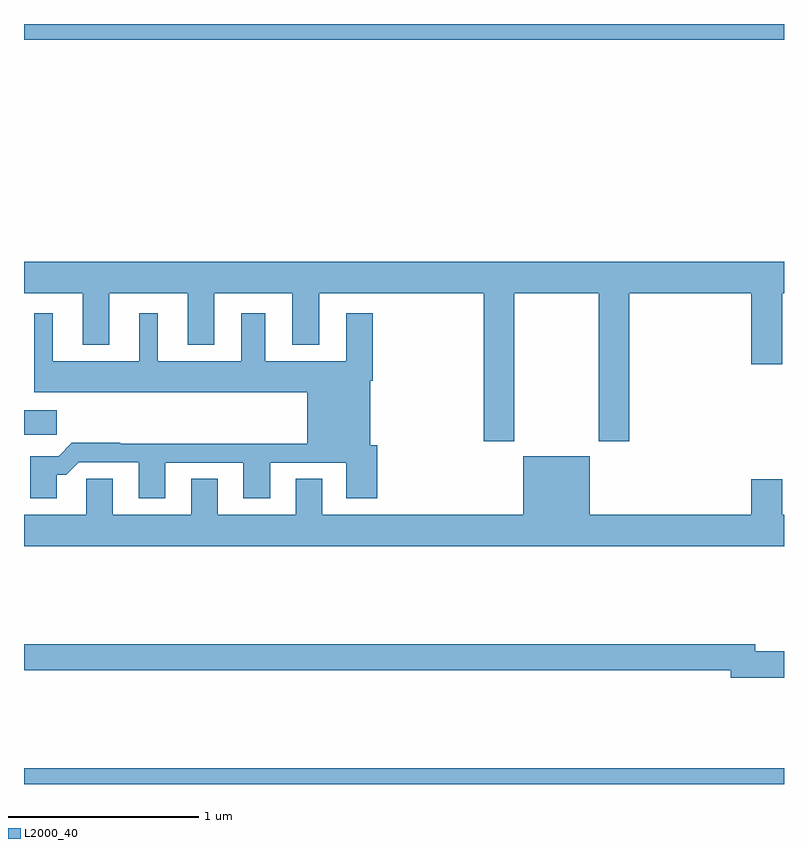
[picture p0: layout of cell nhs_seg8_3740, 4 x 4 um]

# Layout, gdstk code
import gdstk
lib = gdstk.Library(unit=1e-6, precision=1e-09)
def R(c, l, rs):  # rectangles x0, y0, x1, y1
    for r in rs: c.add(gdstk.rectangle(r[:2], r[2:], *l))
def P(c, l, *ps):  # polygons
    for p in ps: c.add(gdstk.Polygon(p, *l))
L2000_40 = (2000, 40)

nhs_seg8_3740 = lib.new_cell('nhs_seg8_3740')
R(nhs_seg8_3740, L2000_40, [(341,1129.9,345,1129.984), (341,1131.739,341.173,1131.868), (341,1133.816,345,1133.9)])
P(nhs_seg8_3740, L2000_40, [(343.581,1132.484),(344.026,1132.484),(344.026,1131.705),(344.186,1131.705),(344.186,1132.484),(344.828,1132.484),(344.828,1132.11),(344.992,1132.11),(344.992,1132.484),(345,1132.484),(345,1132.648),(341,1132.648),(341,1132.484),(341.309,1132.484),(341.309,1132.211),(341.449,1132.211),(341.449,1132.484),(341.861,1132.484),(341.861,1132.211),(342.001,1132.211),(342.001,1132.484),(342.413,1132.484),(342.413,1132.211),(342.553,1132.211),(342.553,1132.484),(343.421,1132.484),(343.421,1131.705),(343.581,1131.705)],
  [(341.173,1131.527),(341.222,1131.527),(341.289,1131.594),(341.603,1131.594),(341.603,1131.405),(341.743,1131.405),(341.743,1131.591),(342.155,1131.591),(342.155,1131.405),(342.295,1131.405),(342.295,1131.591),(342.695,1131.591),(342.695,1131.405),(342.86,1131.405),(342.86,1131.684),(342.823,1131.684),(342.823,1132.022),(342.836,1132.022),(342.836,1132.378),(342.695,1132.378),(342.695,1132.126),(342.271,1132.126),(342.271,1132.378),(342.143,1132.378),(342.143,1132.126),(341.704,1132.126),(341.704,1132.378),(341.606,1132.378),(341.606,1132.126),(341.152,1132.126),(341.152,1132.378),(341.054,1132.378),(341.054,1131.962),(342.491,1131.962),(342.491,1131.692),(341.507,1131.692),(341.507,1131.695),(341.252,1131.695),(341.182,1131.625),(341.033,1131.625),(341.033,1131.405),(341.173,1131.405)],
  [(345,1131.316),(344.992,1131.316),(344.992,1131.505),(344.828,1131.505),(344.828,1131.316),(343.978,1131.316),(343.978,1131.625),(343.628,1131.625),(343.628,1131.316),(342.571,1131.316),(342.571,1131.506),(342.431,1131.506),(342.431,1131.316),(342.019,1131.316),(342.019,1131.506),(341.879,1131.506),(341.879,1131.316),(341.467,1131.316),(341.467,1131.506),(341.328,1131.506),(341.328,1131.316),(341,1131.316),(341,1131.152),(345,1131.152)],
  [(345,1130.6),(344.848,1130.6),(344.848,1130.636),(341,1130.636),(341,1130.5),(344.72,1130.5),(344.72,1130.458),(345,1130.458)])

lib.write_gds('nhs_seg8_3740.gds')
